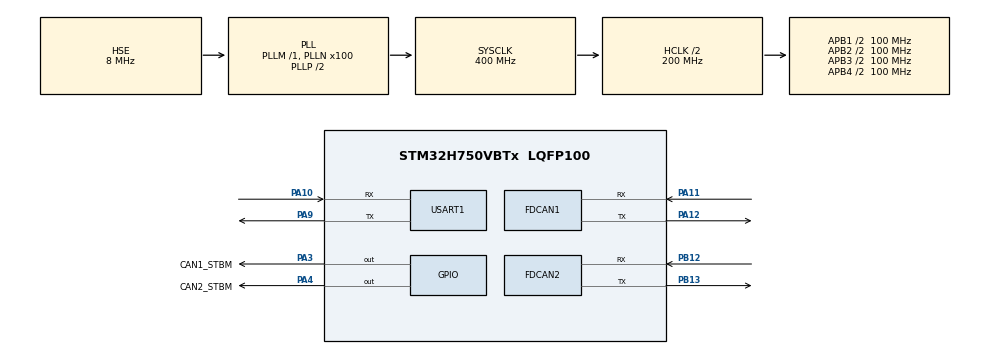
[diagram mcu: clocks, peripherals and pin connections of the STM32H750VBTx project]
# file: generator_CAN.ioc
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CORTEX_M7.default_mode_Activation=1
Dma.Request0=USART1_TX
Dma.USART1_TX.0.Direction=DMA_MEMORY_TO_PERIPH
Dma.USART1_TX.0.EventEnable=DISABLE
Dma.USART1_TX.0.FIFOMode=DMA_FIFOMODE_DISABLE
Dma.USART1_TX.0.Instance=DMA1_Stream0
Dma.USART1_TX.0.MemDataAlignment=DMA_MDATAALIGN_BYTE
Dma.USART1_TX.0.MemInc=DMA_MINC_ENABLE
Dma.USART1_TX.0.Mode=DMA_NORMAL
Dma.USART1_TX.0.PeriphDataAlignment=DMA_PDATAALIGN_BYTE
Dma.USART1_TX.0.PeriphInc=DMA_PINC_DISABLE
Dma.USART1_TX.0.Polarity=HAL_DMAMUX_REQ_GEN_RISING
Dma.USART1_TX.0.Priority=DMA_PRIORITY_LOW
Dma.USART1_TX.0.RequestNumber=1
Dma.USART1_TX.0.SignalID=NONE
Dma.USART1_TX.0.SyncEnable=DISABLE
Dma.USART1_TX.0.SyncPolarity=HAL_DMAMUX_SYNC_NO_EVENT
Dma.USART1_TX.0.SyncRequestNumber=1
Dma.USART1_TX.0.SyncSignalID=NONE
FDCAN1.AutoRetransmission=ENABLE
FDCAN1.CalculateBaudRateNominal=1000000
FDCAN1.CalculateTimeBitNominal=1000
FDCAN1.CalculateTimeQuantumNominal=62.5
FDCAN1.DataSyncJumpWidth=3
FDCAN1.DataTimeSeg1=12
FDCAN1.DataTimeSeg2=3
FDCAN1.FrameFormat=FDCAN_FRAME_FD_BRS
FDCAN1.NominalPrescaler=5
FDCAN1.NominalSyncJumpWidth=2
FDCAN1.NominalTimeSeg1=13
FDCAN1.NominalTimeSeg2=2
FDCAN1.TxElmtSize=FDCAN_DATA_BYTES_64
FDCAN1.TxFifoQueueElmtsNbr=32
FDCAN2.CalculateBaudRateNominal=1000000
FDCAN2.CalculateTimeBitNominal=1000
FDCAN2.CalculateTimeQuantumNominal=62.5
FDCAN2.DataSyncJumpWidth=3
FDCAN2.DataTimeSeg1=12
FDCAN2.DataTimeSeg2=3
FDCAN2.FrameFormat=FDCAN_FRAME_FD_BRS
FDCAN2.MessageRAMOffset=576
FDCAN2.NominalPrescaler=5
FDCAN2.NominalSyncJumpWidth=2
FDCAN2.NominalTimeSeg1=13
FDCAN2.NominalTimeSeg2=2
FDCAN2.RxBufferSize=FDCAN_DATA_BYTES_64
FDCAN2.RxFifo0ElmtSize=FDCAN_DATA_BYTES_64
FDCAN2.RxFifo0ElmtsNbr=32
FDCAN2.RxFifo1ElmtSize=FDCAN_DATA_BYTES_64
Mcu.Family=STM32H7
Mcu.Name=STM32H750VBTx
Mcu.Package=LQFP100
NVIC.DMA1_Stream0_IRQn=true\:0\:0\:false\:false\:true\:false\:true\:true
NVIC.PriorityGroup=NVIC_PRIORITYGROUP_4
NVIC.USART1_IRQn=true\:0\:0\:false\:false\:true\:true\:true\:true
PA10.Mode=Asynchronous
PA10.Signal=USART1_RX
PA11.Mode=FDCAN_Activate
PA11.Signal=FDCAN1_RX
PA12.Mode=FDCAN_Activate
PA12.Signal=FDCAN1_TX
PA13\ (JTMS/SWDIO).Mode=JTAG_5_pins
PA13\ (JTMS/SWDIO).Signal=DEBUG_JTMS-SWDIO
PA14\ (JTCK/SWCLK).Mode=JTAG_5_pins
PA14\ (JTCK/SWCLK).Signal=DEBUG_JTCK-SWCLK
PA15\ (JTDI).Mode=JTAG_5_pins
PA15\ (JTDI).Signal=DEBUG_JTDI
PA3.GPIO_Label=CAN1_STBM
PA3.Signal=GPIO_Output
PA4.GPIO_Label=CAN2_STBM
PA4.Signal=GPIO_Output
PA9.Mode=Asynchronous
PA9.Signal=USART1_TX
PB12.Mode=FDCAN_Activate
PB12.Signal=FDCAN2_RX
PB13.Mode=FDCAN_Activate
PB13.Signal=FDCAN2_TX
PB3\ (JTDO/TRACESWO).Mode=JTAG_5_pins
PB3\ (JTDO/TRACESWO).Signal=DEBUG_JTDO-SWO
PB4\ (NJTRST).Mode=JTAG_5_pins
PB4\ (NJTRST).Signal=DEBUG_JTRST
PH0-OSC_IN\ (PH0).Mode=HSE-External-Oscillator
PH0-OSC_IN\ (PH0).Signal=RCC_OSC_IN
PH1-OSC_OUT\ (PH1).Mode=HSE-External-Oscillator
PH1-OSC_OUT\ (PH1).Signal=RCC_OSC_OUT
ProjectManager.HeapSize=0x200
ProjectManager.StackSize=0x400
ProjectManager.TargetToolchain=STM32CubeIDE
RCC.ADCFreq_Value=80000000
RCC.APB1Freq_Value=100000000
RCC.APB2Freq_Value=100000000
RCC.APB3Freq_Value=100000000
RCC.APB4Freq_Value=100000000
RCC.CortexFreq_Value=400000000
RCC.D1PPRE=RCC_APB3_DIV2
RCC.D2PPRE1=RCC_APB1_DIV2
RCC.D2PPRE2=RCC_APB2_DIV2
RCC.D3PPRE=RCC_APB4_DIV2
RCC.DIVM1=1
RCC.DIVM2=1
RCC.DIVN1=100
RCC.DIVN2=20
RCC.DIVQ1=3
RCC.FDCANCLockSelection=RCC_FDCANCLKSOURCE_PLL2
RCC.HCLKFreq_Value=200000000
RCC.HPRE=RCC_HCLK_DIV2
RCC.HSE_VALUE=8000000
RCC.PLL2FRACN=0
RCC.PLL3FRACN=0
RCC.PLLFRACN=0
RCC.PLLSourceVirtual=RCC_PLLSOURCE_HSE
RCC.SYSCLKFreq_VALUE=400000000
RCC.SYSCLKSource=RCC_SYSCLKSOURCE_PLLCLK
RCC.USBFreq_Value=266666666.66666666
USART1.VirtualMode-Asynchronous=VM_ASYNC
VP_MEMORYMAP_VS_MEMORYMAP.Mode=CurAppReg
board=custom

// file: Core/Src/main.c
/* USER CODE BEGIN Header */
/**
  ******************************************************************************
  * @file           : main.c
  * @brief          : Main program body
  ******************************************************************************
  * @attention
  *
  * Copyright (c) 2026 STMicroelectronics.
  * All rights reserved.
  *
  * This software is licensed under terms that can be found in the LICENSE file
  * in the root directory of this software component.
  * If no LICENSE file comes with this software, it is provided AS-IS.
  *
  ******************************************************************************
  */
/* USER CODE END Header */
#include "main.h"

/* USER CODE BEGIN Includes */
#include <stdio.h>
/* USER CODE END Includes */

/* USER CODE BEGIN PTD */
typedef struct
{
  uint32_t reasons;
  uint32_t expected_counter;
  uint32_t received_counter;
  uint32_t tx_queued;
  uint32_t rx_count;
  uint32_t identifier;
  uint32_t dlc;
  uint32_t bad_byte_index;
  uint8_t bad_byte_expected;
  uint8_t bad_byte_received;
  uint8_t data[8];
} GeneratorCanBadSnapshot;
/* USER CODE END PTD */

/* USER CODE BEGIN PD */
#define GENERATOR_CAN_BITRATE_500K  500000UL
#define GENERATOR_CAN_BITRATE_1M   1000000UL
#define GENERATOR_CAN_DBITRATE_2M  2000000UL
#define GENERATOR_CAN_DBITRATE_5M  5000000UL

#define GENERATOR_BAD_SEQUENCE  (1U << 0)
#define GENERATOR_BAD_FUTURE    (1U << 1)
#define GENERATOR_BAD_ID        (1U << 2)
#define GENERATOR_BAD_DLC       (1U << 3)
#define GENERATOR_BAD_HEADER    (1U << 4)
#define GENERATOR_BAD_ESI       (1U << 5)
#define GENERATOR_BAD_PAYLOAD   (1U << 6)

#define GENERATOR_PROTOCOL_IR_MASK  (FDCAN_IR_PEA | FDCAN_IR_PED)
/* USER CODE END PD */

FDCAN_HandleTypeDef hfdcan1;
FDCAN_HandleTypeDef hfdcan2;

UART_HandleTypeDef huart1;
DMA_HandleTypeDef hdma_usart1_tx;

/* USER CODE BEGIN PV */
static uint32_t can_tx_count = 0;
static uint32_t can_rx_count = 0;
static uint32_t can_tx_error = 0;

static uint32_t last_tx_tick = 0;
static uint32_t last_report_tick = 0;

static FDCAN_TxHeaderTypeDef txHeader = {0};
static uint8_t generator_can_fd = 1U;
static uint32_t generator_nominal_bitrate = GENERATOR_CAN_BITRATE_1M;
static uint32_t generator_data_bitrate = GENERATOR_CAN_DBITRATE_5M;
static uint32_t generator_payload_length = 64U;

/*
 * Independent validation of the traffic seen by generator FDCAN2.
 *
 * FDCAN1 always transmits standard ID 0x100 with a monotonically increasing
 * little-endian counter in data[0..3].  The rest of the active payload uses
 * the deterministic pattern (counter + byte index) & 0xFF.
 *
 * Runtime configuration can switch both generator controllers between:
 *   Classic CAN : 500 kbit/s or 1 Mbit/s, 8-byte payload
 *   CAN FD+BRS  : 500 kbit/s or 1 Mbit/s nominal,
 *                 2 Mbit/s or 5 Mbit/s data, 64-byte payload
 *
 * No printf is performed in the RX hot path.  Only counters and the most
 * recent mismatch are retained and printed in the once-per-second report.
 */
static uint8_t can_rx_have_counter = 0U;
static uint32_t can_rx_expected_counter = 0U;
static uint32_t can_rx_first_counter = 0U;
static uint32_t can_rx_last_counter = 0U;

static uint32_t can_rx_good_frames = 0U;
static uint32_t can_rx_bad_frames = 0U;
static uint32_t can_rx_sequence_errors = 0U;
static uint32_t can_rx_missing_frames = 0U;
static uint32_t can_rx_duplicate_events = 0U;
static uint32_t can_rx_backward_events = 0U;
static uint32_t can_rx_future_events = 0U;
static uint32_t can_rx_id_errors = 0U;
static uint32_t can_rx_dlc_errors = 0U;
static uint32_t can_rx_header_errors = 0U;
static uint32_t can_rx_esi_errors = 0U;
static uint32_t can_rx_payload_errors = 0U;
static uint32_t can_rx_payload_byte_errors = 0U;
static uint32_t can_rx_read_errors = 0U;
static uint32_t can_rx_fifo_lost_events = 0U;
static uint32_t can_rx_max_fifo_fill = 0U;

static GeneratorCanBadSnapshot can_rx_first_bad = {0};
static GeneratorCanBadSnapshot can_rx_last_bad = {0};

static uint32_t can_rx_protocol_events = 0U;
static uint32_t can_rx_protocol_lec_events = 0U;
static uint32_t can_rx_protocol_dlec_events = 0U;
static uint32_t can_rx_protocol_ir_events = 0U;
static uint32_t can_rx_protocol_last_psr = 0U;
static uint32_t can_rx_protocol_last_ecr = 0U;
static uint32_t can_rx_protocol_last_ir = 0U;
static uint32_t can_rx_protocol_last_tx = 0U;
static uint32_t can_rx_protocol_last_rx = 0U;
/* USER CODE END PV */

void SystemClock_Config(void);
void PeriphCommonClock_Config(void);
static void MPU_Config(void);
static void MX_GPIO_Init(void);
static void MX_DMA_Init(void);
static void MX_FDCAN1_Init(void);
static void MX_FDCAN2_Init(void);
static void MX_USART1_UART_Init(void);
/* USER CODE BEGIN PFP */
static void Generator_CAN_ConfigureTxHeader(void);
static void Generator_CAN_ResetStatistics(void);
static uint8_t Generator_CAN_CounterIsAfter(uint32_t value,
                                            uint32_t reference);
static void Generator_CAN_SaveBadSnapshot(
    GeneratorCanBadSnapshot *snapshot,
    uint32_t reasons,
    uint32_t expected_counter,
    uint32_t received_counter,
    uint32_t tx_queued,
    const FDCAN_RxHeaderTypeDef *header,
    const uint8_t *data,
    uint32_t bad_byte_index,
    uint8_t bad_byte_expected,
    uint8_t bad_byte_received);
static void Generator_CAN_MonitorRxProtocol(void);
static HAL_StatusTypeDef Generator_CAN_ConfigureHandle(
    FDCAN_HandleTypeDef *hfdcan,
    uint8_t can_fd,
    uint32_t nominal_bitrate,
    uint32_t data_bitrate);
/* USER CODE END PFP */

/* USER CODE BEGIN 0 */
static void Generator_CAN_SendText(const char *text)
{
  uint16_t length = 0U;

  if (text == NULL)
  {
    return;
  }

  while ((text[length] != '\0') && (length < 383U))
  {
    length++;
  }

  (void)Console_UART_Transmit(&huart1,
                              (const uint8_t *)text,
                              length,
                              0U);
}

static void Generator_CAN_ConfigureTxHeader(void)
{
  txHeader.Identifier = 0x100U;
  txHeader.IdType = FDCAN_STANDARD_ID;
  txHeader.TxFrameType = FDCAN_DATA_FRAME;
  txHeader.DataLength = (generator_can_fd != 0U) ?
                        FDCAN_DLC_BYTES_64 : FDCAN_DLC_BYTES_8;
  txHeader.ErrorStateIndicator = FDCAN_ESI_ACTIVE;
  txHeader.BitRateSwitch = (generator_can_fd != 0U) ?
                           FDCAN_BRS_ON : FDCAN_BRS_OFF;
  txHeader.FDFormat = (generator_can_fd != 0U) ?
                      FDCAN_FD_CAN : FDCAN_CLASSIC_CAN;
  txHeader.TxEventFifoControl = FDCAN_NO_TX_EVENTS;
  txHeader.MessageMarker = 0U;
}

static uint8_t Generator_CAN_CounterIsAfter(uint32_t value,
                                            uint32_t reference)
{
  uint32_t distance = value - reference;

  return ((distance != 0U) && (distance < 0x80000000U)) ? 1U : 0U;
}

static void Generator_CAN_SaveBadSnapshot(
    GeneratorCanBadSnapshot *snapshot,
    uint32_t reasons,
    uint32_t expected_counter,
    uint32_t received_counter,
    uint32_t tx_queued,
    const FDCAN_RxHeaderTypeDef *header,
    const uint8_t *data,
    uint32_t bad_byte_index,
    uint8_t bad_byte_expected,
    uint8_t bad_byte_received)
{
  uint32_t i;

  snapshot->reasons = reasons;
  snapshot->expected_counter = expected_counter;
  snapshot->received_counter = received_counter;
  snapshot->tx_queued = tx_queued;
  snapshot->rx_count = can_rx_count;
  snapshot->identifier = header->Identifier;
  snapshot->dlc = header->DataLength;
  snapshot->bad_byte_index = bad_byte_index;
  snapshot->bad_byte_expected = bad_byte_expected;
  snapshot->bad_byte_received = bad_byte_received;

  for (i = 0U; i < 8U; i++)
  {
    snapshot->data[i] = data[i];
  }
}

static void Generator_CAN_MonitorRxProtocol(void)
{
  uint32_t psr = hfdcan2.Instance->PSR;
  uint32_t ecr = hfdcan2.Instance->ECR;
  uint32_t ir = hfdcan2.Instance->IR & GENERATOR_PROTOCOL_IR_MASK;
  uint32_t lec = (psr & FDCAN_PSR_LEC) >> FDCAN_PSR_LEC_Pos;
  uint32_t dlec = (psr & FDCAN_PSR_DLEC) >> FDCAN_PSR_DLEC_Pos;
  uint8_t lec_error = 0U;
  uint8_t dlec_error = 0U;

  /* Reading PSR consumes the LEC/DLEC change latches.  Poll them in the hot
   * loop so short receive-side protocol errors are retained in our counters. */
  if ((lec != FDCAN_PROTOCOL_ERROR_NONE) &&
      (lec != FDCAN_PROTOCOL_ERROR_NO_CHANGE))
  {
    lec_error = 1U;
  }

  if ((dlec != FDCAN_PROTOCOL_ERROR_NONE) &&
      (dlec != FDCAN_PROTOCOL_ERROR_NO_CHANGE))
  {
    dlec_error = 1U;
  }

  if ((lec_error != 0U) || (dlec_error != 0U) || (ir != 0U))
  {
    can_rx_protocol_events++;
    can_rx_protocol_lec_events += lec_error;
    can_rx_protocol_dlec_events += dlec_error;
    can_rx_protocol_ir_events += (ir != 0U) ? 1U : 0U;
    can_rx_protocol_last_psr = psr;
    can_rx_protocol_last_ecr = ecr;
    can_rx_protocol_last_ir = ir;
    can_rx_protocol_last_tx = can_tx_count;
    can_rx_protocol_last_rx = can_rx_count;

    /* PEA/PED are sticky. Clear only the sampled flags so a later protocol
     * episode is counted independently. */
    if (ir != 0U)
    {
      hfdcan2.Instance->IR = ir;
    }
  }
}

static void Generator_CAN_ResetStatistics(void)
{
  can_tx_count = 0U;
  can_rx_count = 0U;
  can_tx_error = 0U;

  can_rx_have_counter = 0U;
  can_rx_expected_counter = 0U;
  can_rx_first_counter = 0U;
  can_rx_last_counter = 0U;

  can_rx_good_frames = 0U;
  can_rx_bad_frames = 0U;
  can_rx_sequence_errors = 0U;
  can_rx_missing_frames = 0U;
  can_rx_duplicate_events = 0U;
  can_rx_backward_events = 0U;
  can_rx_future_events = 0U;
  can_rx_id_errors = 0U;
  can_rx_dlc_errors = 0U;
  can_rx_header_errors = 0U;
  can_rx_esi_errors = 0U;
  can_rx_payload_errors = 0U;
  can_rx_payload_byte_errors = 0U;
  can_rx_read_errors = 0U;
  can_rx_fifo_lost_events = 0U;
  can_rx_max_fifo_fill = 0U;

  can_rx_first_bad = (GeneratorCanBadSnapshot){0};
  can_rx_last_bad = (GeneratorCanBadSnapshot){0};
  can_rx_first_bad.bad_byte_index = 0xFFFFFFFFU;
  can_rx_last_bad.bad_byte_index = 0xFFFFFFFFU;

  can_rx_protocol_events = 0U;
  can_rx_protocol_lec_events = 0U;
  can_rx_protocol_dlec_events = 0U;
  can_rx_protocol_ir_events = 0U;
  can_rx_protocol_last_psr = 0U;
  can_rx_protocol_last_ecr = 0U;
  can_rx_protocol_last_ir = 0U;
  can_rx_protocol_last_tx = 0U;
  can_rx_protocol_last_rx = 0U;

  /* Establish a clean receive-side protocol baseline before frame 0. */
  (void)hfdcan2.Instance->PSR;
  hfdcan2.Instance->IR = GENERATOR_PROTOCOL_IR_MASK;

  last_tx_tick = HAL_GetTick();
  last_report_tick = HAL_GetTick();
}

static HAL_StatusTypeDef Generator_CAN_ConfigureHandle(
    FDCAN_HandleTypeDef *hfdcan,
    uint8_t can_fd,
    uint32_t nominal_bitrate,
    uint32_t data_bitrate)
{
  uint32_t nominal_prescaler;
  uint32_t data_prescaler = 1U;
  uint32_t data_sjw = 3U;
  uint32_t data_seg1 = 12U;
  uint32_t data_seg2 = 3U;

  if (nominal_bitrate == GENERATOR_CAN_BITRATE_500K)
  {
    nominal_prescaler = 10U;
  }
  else if (nominal_bitrate == GENERATOR_CAN_BITRATE_1M)
  {
    nominal_prescaler = 5U;
  }
  else
  {
    return HAL_ERROR;
  }

  if (can_fd != 0U)
  {
    if (data_bitrate == GENERATOR_CAN_DBITRATE_2M)
    {
      /* 80 MHz / (2 * (1 + 15 + 4)) = 2 Mbit/s, SP=80%. */
      data_prescaler = 2U;
      data_sjw = 4U;
      data_seg1 = 15U;
      data_seg2 = 4U;
    }
    else if (data_bitrate == GENERATOR_CAN_DBITRATE_5M)
    {
      /* 80 MHz / (1 * (1 + 12 + 3)) = 5 Mbit/s, SP=81.25%. */
      data_prescaler = 1U;
      data_sjw = 3U;
      data_seg1 = 12U;
      data_seg2 = 3U;
    }
    else
    {
      return HAL_ERROR;
    }
  }

  hfdcan->Init.FrameFormat = (can_fd != 0U) ?
                             FDCAN_FRAME_FD_BRS : FDCAN_FRAME_CLASSIC;
  hfdcan->Init.NominalPrescaler = nominal_prescaler;
  hfdcan->Init.NominalSyncJumpWidth = 2U;
  hfdcan->Init.NominalTimeSeg1 = 13U;
  hfdcan->Init.NominalTimeSeg2 = 2U;
  hfdcan->Init.DataPrescaler = data_prescaler;
  hfdcan->Init.DataSyncJumpWidth = data_sjw;
  hfdcan->Init.DataTimeSeg1 = data_seg1;
  hfdcan->Init.DataTimeSeg2 = data_seg2;

  return HAL_FDCAN_Init(hfdcan);
}

void Generator_CAN_PrintStatus(void)
{
  char msg[256];
  int length;

  if (generator_can_fd != 0U)
  {
    length = snprintf(
        msg,
        sizeof(msg),
        "CAN STATUS mode=FD+BRS nominal=%lu data=%lu payload=64 "
        "N[brp=%lu sjw=%lu seg1=%lu seg2=%lu] "
        "D[brp=%lu sjw=%lu seg1=%lu seg2=%lu]\r\n",
        (unsigned long)generator_nominal_bitrate,
        (unsigned long)generator_data_bitrate,
        (unsigned long)hfdcan1.Init.NominalPrescaler,
        (unsigned long)hfdcan1.Init.NominalSyncJumpWidth,
        (unsigned long)hfdcan1.Init.NominalTimeSeg1,
        (unsigned long)hfdcan1.Init.NominalTimeSeg2,
        (unsigned long)hfdcan1.Init.DataPrescaler,
        (unsigned long)hfdcan1.Init.DataSyncJumpWidth,
        (unsigned long)hfdcan1.Init.DataTimeSeg1,
        (unsigned long)hfdcan1.Init.DataTimeSeg2);
  }
  else
  {
    length = snprintf(
        msg,
        sizeof(msg),
        "CAN STATUS mode=CLASSIC nominal=%lu payload=8 "
        "N[brp=%lu sjw=%lu seg1=%lu seg2=%lu]\r\n",
        (unsigned long)generator_nominal_bitrate,
        (unsigned long)hfdcan1.Init.NominalPrescaler,
        (unsigned long)hfdcan1.Init.NominalSyncJumpWidth,
        (unsigned long)hfdcan1.Init.NominalTimeSeg1,
        (unsigned long)hfdcan1.Init.NominalTimeSeg2);
  }

  if (length > 0)
  {
    (void)Console_UART_Transmit(&huart1,
                                (const uint8_t *)msg,
                                (uint16_t)length,
                                0U);
  }
}

HAL_StatusTypeDef Generator_CAN_ApplyConfig(
    uint8_t can_fd,
    uint32_t nominal_bitrate,
    uint32_t data_bitrate)
{
  HAL_StatusTypeDef status;

  if ((nominal_bitrate != GENERATOR_CAN_BITRATE_500K) &&
      (nominal_bitrate != GENERATOR_CAN_BITRATE_1M))
  {
    return HAL_ERROR;
  }

  if ((can_fd != 0U) &&
      (data_bitrate != GENERATOR_CAN_DBITRATE_2M) &&
      (data_bitrate != GENERATOR_CAN_DBITRATE_5M))
  {
    return HAL_ERROR;
  }

  /* Stop the transmitter first so CAN2 is still available to ACK it. */
  if (HAL_FDCAN_Stop(&hfdcan1) != HAL_OK)
  {
    Generator_CAN_SendText("CAN config failed: cannot stop FDCAN1\r\n");
    return HAL_ERROR;
  }

  if (HAL_FDCAN_Stop(&hfdcan2) != HAL_OK)
  {
    Generator_CAN_SendText("CAN config failed: cannot stop FDCAN2\r\n");
    return HAL_ERROR;
  }

  status = Generator_CAN_ConfigureHandle(&hfdcan1,
                                         can_fd,
                                         nominal_bitrate,
                                         data_bitrate);
  if (status != HAL_OK)
  {
    Generator_CAN_SendText("CAN config failed: FDCAN1 init\r\n");
    return status;
  }

  status = Generator_CAN_ConfigureHandle(&hfdcan2,
                                         can_fd,
                                         nominal_bitrate,
                                         data_bitrate);
  if (status != HAL_OK)
  {
    Generator_CAN_SendText("CAN config failed: FDCAN2 init\r\n");
    return status;
  }

  if (HAL_FDCAN_ConfigGlobalFilter(&hfdcan2,
                                   FDCAN_ACCEPT_IN_RX_FIFO0,
                                   FDCAN_ACCEPT_IN_RX_FIFO0,
                                   FDCAN_REJECT_REMOTE,
                                   FDCAN_REJECT_REMOTE) != HAL_OK)
  {
    Generator_CAN_SendText("CAN config failed: FDCAN2 filter\r\n");
    return HAL_ERROR;
  }

  /* Receiver/ACK node always starts before the traffic generator. */
  if (HAL_FDCAN_Start(&hfdcan2) != HAL_OK)
  {
    Generator_CAN_SendText("CAN config failed: cannot start FDCAN2\r\n");
    return HAL_ERROR;
  }

  if (HAL_FDCAN_Start(&hfdcan1) != HAL_OK)
  {
    (void)HAL_FDCAN_Stop(&hfdcan2);
    Generator_CAN_SendText("CAN config failed: cannot start FDCAN1\r\n");
    return HAL_ERROR;
  }

  generator_can_fd = (can_fd != 0U) ? 1U : 0U;
  generator_nominal_bitrate = nominal_bitrate;
  generator_data_bitrate = (can_fd != 0U) ? data_bitrate : 0U;
  generator_payload_length = (can_fd != 0U) ? 64U : 8U;

  Generator_CAN_ConfigureTxHeader();
  Generator_CAN_ResetStatistics();
  Generator_CAN_PrintStatus();

  return HAL_OK;
}
/* USER CODE END 0 */

int main(void)
{

  /* MPU Configuration--------------------------------------------------------*/
  MPU_Config();

  /* MCU Configuration--------------------------------------------------------*/

  /* Reset of all peripherals, Initializes the Flash interface and the Systick. */
  HAL_Init();

  /* Configure the system clock */
  SystemClock_Config();

  /* Configure the peripherals common clocks */
  PeriphCommonClock_Config();

  /* Initialize all configured peripherals */
  MX_GPIO_Init();
  MX_DMA_Init();
  MX_FDCAN1_Init();
  MX_FDCAN2_Init();
  MX_USART1_UART_Init();
  /* USER CODE BEGIN 2 */
  const char msg[] =
      "\r\n"
      "================================\r\n"
      " CAN / CAN FD traffic generator\r\n"
      "================================\r\n"
      "Boot OK\r\n"
      "CPU          : 400 MHz\r\n"
      "Default      : CAN FD+BRS 1 Mbit/s / 5 Mbit/s\r\n"
      "Pattern      : ID=100 counter + deterministic pattern\r\n"
      "CAN2         : independent RX validator / ACK node enabled\r\n"
      "Type ? for runtime commands\r\n"
      "\r\n";

  HAL_UART_Transmit(&huart1,
                    (uint8_t *)msg,
                    sizeof(msg) - 1,
                    HAL_MAX_DELAY);

  Generator_CAN_ConfigureTxHeader();

  /* CAN2 accepts all non-matching standard/extended frames into FIFO0 */
  if (HAL_FDCAN_ConfigGlobalFilter(&hfdcan2,
                                   FDCAN_ACCEPT_IN_RX_FIFO0,
                                   FDCAN_ACCEPT_IN_RX_FIFO0,
                                   FDCAN_REJECT_REMOTE,
                                   FDCAN_REJECT_REMOTE) != HAL_OK)
  {
      Error_Handler();
  }

  /*
   * Start receiver first.
   * CAN2 must be active before CAN1 starts transmitting,
   * because CAN2 provides the ACK.
   */
  if (HAL_FDCAN_Start(&hfdcan2) != HAL_OK)
  {
      Error_Handler();
  }

  if (HAL_FDCAN_Start(&hfdcan1) != HAL_OK)
  {
      Error_Handler();
  }

  Generator_CAN_ResetStatistics();
  Generator_CAN_PrintStatus();

  /* USER CODE END 2 */

  /* Infinite loop */
  while (1)
  {

    /* USER CODE BEGIN 3 */

      uint32_t now = HAL_GetTick();

      while (HAL_FDCAN_GetTxFifoFreeLevel(&hfdcan1) > 0)
      {
          uint8_t txData[64];

          txData[0] = (uint8_t)(can_tx_count);
          txData[1] = (uint8_t)(can_tx_count >> 8);
          txData[2] = (uint8_t)(can_tx_count >> 16);
          txData[3] = (uint8_t)(can_tx_count >> 24);

          for (uint32_t i = 4U; i < 64U; i++)
          {
              txData[i] = (uint8_t)(can_tx_count + i);
          }

          if (HAL_FDCAN_AddMessageToTxFifoQ(&hfdcan1,
                                            &txHeader,
                                            txData) == HAL_OK)
          {
              can_tx_count++;
          }
          else
          {
              can_tx_error++;
              break;
          }
      }

      /*
       * Observe FIFO pressure before draining it.  This allows a sequence gap
       * at CAN2 to be distinguished from a generator-side FIFO overflow.
       */
      uint32_t rx_fill =
          HAL_FDCAN_GetRxFifoFillLevel(&hfdcan2, FDCAN_RX_FIFO0);

      if (rx_fill > can_rx_max_fifo_fill)
      {
          can_rx_max_fifo_fill = rx_fill;
      }

      if (__HAL_FDCAN_GET_FLAG(&hfdcan2,
                               FDCAN_FLAG_RX_FIFO0_MESSAGE_LOST))
      {
          can_rx_fifo_lost_events++;
          __HAL_FDCAN_CLEAR_FLAG(&hfdcan2,
                                 FDCAN_FLAG_RX_FIFO0_MESSAGE_LOST);
      }

      /* Drain and validate everything received by CAN2. */
      while (HAL_FDCAN_GetRxFifoFillLevel(&hfdcan2,
                                          FDCAN_RX_FIFO0) > 0)
      {
          FDCAN_RxHeaderTypeDef rxHeader;
          uint8_t rxData[64] = {0U};

          if (HAL_FDCAN_GetRxMessage(&hfdcan2,
                                     FDCAN_RX_FIFO0,
                                     &rxHeader,
                                     rxData) == HAL_OK)
          {
              uint32_t counter =
                    ((uint32_t)rxData[0])
                  | ((uint32_t)rxData[1] << 8)
                  | ((uint32_t)rxData[2] << 16)
                  | ((uint32_t)rxData[3] << 24);

              uint32_t expected_before = can_rx_expected_counter;
              uint32_t tx_queued_before = can_tx_count;
              uint32_t tx_distance = tx_queued_before - counter;
              uint32_t reasons = 0U;
              uint32_t bad_byte_index = 0xFFFFFFFFU;
              uint8_t bad_byte_expected = 0U;
              uint8_t bad_byte_received = 0U;
              uint32_t expected_dlc = (generator_can_fd != 0U) ?
                                      FDCAN_DLC_BYTES_64 : FDCAN_DLC_BYTES_8;
              uint32_t expected_format = (generator_can_fd != 0U) ?
                                         FDCAN_FD_CAN : FDCAN_CLASSIC_CAN;
              uint32_t expected_brs = (generator_can_fd != 0U) ?
                                      FDCAN_BRS_ON : FDCAN_BRS_OFF;

              can_rx_count++;

              if (can_rx_have_counter == 0U)
              {
                  can_rx_have_counter = 1U;
                  can_rx_first_counter = counter;
              }

              /* A received counter must refer to a frame already accepted by
               * the TX queue.  Modular subtraction keeps this valid at wrap. */
              if ((tx_distance == 0U) || (tx_distance >= 0x80000000U))
              {
                  can_rx_future_events++;
                  reasons |= GENERATOR_BAD_FUTURE;
              }

              if ((counter == expected_before) &&
                  ((reasons & GENERATOR_BAD_FUTURE) == 0U))
              {
                  can_rx_expected_counter++;
              }
              else if (counter != expected_before)
              {
                  can_rx_sequence_errors++;
                  reasons |= GENERATOR_BAD_SEQUENCE;

                  if ((reasons & GENERATOR_BAD_FUTURE) != 0U)
                  {
                      /* An impossible counter must not poison synchronisation. */
                  }
                  else if ((can_rx_count > 1U) &&
                      (counter == can_rx_last_counter))
                  {
                      can_rx_duplicate_events++;
                      /* A duplicate does not advance the expected counter. */
                  }
                  else if (Generator_CAN_CounterIsAfter(
                               counter, expected_before) != 0U)
                  {
                      can_rx_missing_frames += counter - expected_before;
                      can_rx_expected_counter = counter + 1U;
                  }
                  else
                  {
                      can_rx_backward_events++;
                      /* Keep the expected counter so a late/stale frame does
                       * not hide a subsequent valid frame. */
                  }
              }

              can_rx_last_counter = counter;

              if ((rxHeader.Identifier != 0x100U) ||
                  (rxHeader.IdType != FDCAN_STANDARD_ID))
              {
                  can_rx_id_errors++;
                  reasons |= GENERATOR_BAD_ID;
              }

              if (rxHeader.DataLength != expected_dlc)
              {
                  can_rx_dlc_errors++;
                  reasons |= GENERATOR_BAD_DLC;
              }

              if ((rxHeader.RxFrameType != FDCAN_DATA_FRAME) ||
                  (rxHeader.FDFormat != expected_format) ||
                  (rxHeader.BitRateSwitch != expected_brs))
              {
                  can_rx_header_errors++;
                  reasons |= GENERATOR_BAD_HEADER;
              }

              if (rxHeader.ErrorStateIndicator != FDCAN_ESI_ACTIVE)
              {
                  can_rx_esi_errors++;
                  reasons |= GENERATOR_BAD_ESI;
              }

              for (uint32_t i = 4U; i < generator_payload_length; i++)
              {
                  uint8_t expected_byte = (uint8_t)(counter + i);

                  if (rxData[i] != expected_byte)
                  {
                      if ((reasons & GENERATOR_BAD_PAYLOAD) == 0U)
                      {
                          can_rx_payload_errors++;
                          bad_byte_index = i;
                          bad_byte_expected = expected_byte;
                          bad_byte_received = rxData[i];
                      }

                      can_rx_payload_byte_errors++;
                      reasons |= GENERATOR_BAD_PAYLOAD;
                  }
              }

              if (reasons == 0U)
              {
                  can_rx_good_frames++;
              }
              else
              {
                  can_rx_bad_frames++;

                  if (can_rx_bad_frames == 1U)
                  {
                      Generator_CAN_SaveBadSnapshot(
                          &can_rx_first_bad,
                          reasons,
                          expected_before,
                          counter,
                          tx_queued_before,
                          &rxHeader,
                          rxData,
                          bad_byte_index,
                          bad_byte_expected,
                          bad_byte_received);
                  }

                  Generator_CAN_SaveBadSnapshot(
                      &can_rx_last_bad,
                      reasons,
                      expected_before,
                      counter,
                      tx_queued_before,
                      &rxHeader,
                      rxData,
                      bad_byte_index,
                      bad_byte_expected,
                      bad_byte_received);
              }
          }
          else
          {
              can_rx_read_errors++;
          }
      }

      Generator_CAN_MonitorRxProtocol();

      /* Print status once per second. */
      if ((now - last_report_tick) >= 1000)
      {
          last_report_tick = now;

          FDCAN_ProtocolStatusTypeDef ps1 = {0};
          FDCAN_ProtocolStatusTypeDef ps2 = {0};

          FDCAN_ErrorCountersTypeDef ec1 = {0};
          FDCAN_ErrorCountersTypeDef ec2 = {0};

          HAL_FDCAN_GetProtocolStatus(&hfdcan1, &ps1);
          HAL_FDCAN_GetProtocolStatus(&hfdcan2, &ps2);

          HAL_FDCAN_GetErrorCounters(&hfdcan1, &ec1);
          HAL_FDCAN_GetErrorCounters(&hfdcan2, &ec2);

          uint32_t txFree =
              HAL_FDCAN_GetTxFifoFreeLevel(&hfdcan1);

          uint32_t rxFill =
              HAL_FDCAN_GetRxFifoFillLevel(&hfdcan2, FDCAN_RX_FIFO0);

          char status_msg[320];

          int status_len = snprintf(
              status_msg,
              sizeof(status_msg),
              "TXQ=%lu RX=%lu ADDERR=%lu free=%lu rxFill=%lu "
              "| C1 TEC=%lu REC=%lu EP=%lu BO=%lu LEC=%lu "
              "| C2 TEC=%lu REC=%lu EP=%lu BO=%lu LEC=%lu\r\n",
              (unsigned long)can_tx_count,
              (unsigned long)can_rx_count,
              (unsigned long)can_tx_error,
              (unsigned long)txFree,
              (unsigned long)rxFill,

              (unsigned long)ec1.TxErrorCnt,
              (unsigned long)ec1.RxErrorCnt,
              (unsigned long)ps1.ErrorPassive,
              (unsigned long)ps1.BusOff,
              (unsigned long)ps1.LastErrorCode,

              (unsigned long)ec2.TxErrorCnt,
              (unsigned long)ec2.RxErrorCnt,
              (unsigned long)ps2.ErrorPassive,
              (unsigned long)ps2.BusOff,
              (unsigned long)ps2.LastErrorCode);

          HAL_UART_Transmit(&huart1,
                            (uint8_t *)status_msg,
                            status_len,
                            HAL_MAX_DELAY);

          char check_msg[384];
          uint32_t crosscheck_errors =
              can_rx_bad_frames +
              can_rx_read_errors +
              can_rx_fifo_lost_events +
              can_rx_protocol_events;
          const char *crosscheck_state;

          if (crosscheck_errors != 0U)
          {
              crosscheck_state = "FAIL";
          }
          else if ((can_tx_count == can_rx_count) &&
                   (can_rx_expected_counter == can_tx_count))
          {
              crosscheck_state = "PASS";
          }
          else
          {
              crosscheck_state = "RUN";
          }

          int check_len = snprintf(
              check_msg,
              sizeof(check_msg),
              "GENX %s tx=%lu rx=%lu d=%lu next=%lu ok=%lu bad=%lu\r\n"
              "SEQ first=%lu last=%lu err=%lu miss=%lu dup=%lu back=%lu fut=%lu\r\n"
              "RX id=%lu dlc=%lu hdr=%lu esi=%lu pf=%lu pb=%lu "
              "read=%lu lost=%lu max=%lu\r\n",
              crosscheck_state,
              (unsigned long)can_tx_count,
              (unsigned long)can_rx_count,
              (unsigned long)(can_tx_count - can_rx_count),
              (unsigned long)can_rx_expected_counter,
              (unsigned long)can_rx_good_frames,
              (unsigned long)can_rx_bad_frames,
              (unsigned long)can_rx_first_counter,
              (unsigned long)can_rx_last_counter,
              (unsigned long)can_rx_sequence_errors,
              (unsigned long)can_rx_missing_frames,
              (unsigned long)can_rx_duplicate_events,
              (unsigned long)can_rx_backward_events,
              (unsigned long)can_rx_future_events,
              (unsigned long)can_rx_id_errors,
              (unsigned long)can_rx_dlc_errors,
              (unsigned long)can_rx_header_errors,
              (unsigned long)can_rx_esi_errors,
              (unsigned long)can_rx_payload_errors,
              (unsigned long)can_rx_payload_byte_errors,
              (unsigned long)can_rx_read_errors,
              (unsigned long)can_rx_fifo_lost_events,
              (unsigned long)can_rx_max_fifo_fill);

          HAL_UART_Transmit(&huart1,
                            (uint8_t *)check_msg,
                            check_len,
                            HAL_MAX_DELAY);

          if ((can_rx_bad_frames != 0U) ||
              (can_rx_protocol_events != 0U))
          {
              char detail_msg[384];

              int detail_len = snprintf(
                  detail_msg,
                  sizeof(detail_msg),
                  "FIRST w=%02lX e=%lu g=%lu tq=%lu r=%lu "
                  "id=%03lX dlc=%lu b=%ld:%02X/%02X\r\n"
                  "LAST w=%02lX e=%lu g=%lu tq=%lu r=%lu "
                  "id=%03lX dlc=%lu b=%ld:%02X/%02X\r\n"
                  "PROTO ev=%lu l=%lu dl=%lu irn=%lu "
                  "p=%08lX e=%08lX i=%08lX t=%lu r=%lu\r\n",
                  (unsigned long)can_rx_first_bad.reasons,
                  (unsigned long)can_rx_first_bad.expected_counter,
                  (unsigned long)can_rx_first_bad.received_counter,
                  (unsigned long)can_rx_first_bad.tx_queued,
                  (unsigned long)can_rx_first_bad.rx_count,
                  (unsigned long)can_rx_first_bad.identifier,
                  (unsigned long)can_rx_first_bad.dlc,
                  (long)(int32_t)can_rx_first_bad.bad_byte_index,
                  can_rx_first_bad.bad_byte_expected,
                  can_rx_first_bad.bad_byte_received,
                  (unsigned long)can_rx_last_bad.reasons,
                  (unsigned long)can_rx_last_bad.expected_counter,
                  (unsigned long)can_rx_last_bad.received_counter,
                  (unsigned long)can_rx_last_bad.tx_queued,
                  (unsigned long)can_rx_last_bad.rx_count,
                  (unsigned long)can_rx_last_bad.identifier,
                  (unsigned long)can_rx_last_bad.dlc,
                  (long)(int32_t)can_rx_last_bad.bad_byte_index,
                  can_rx_last_bad.bad_byte_expected,
                  can_rx_last_bad.bad_byte_received,
                  (unsigned long)can_rx_protocol_events,
                  (unsigned long)can_rx_protocol_lec_events,
                  (unsigned long)can_rx_protocol_dlec_events,
                  (unsigned long)can_rx_protocol_ir_events,
                  (unsigned long)can_rx_protocol_last_psr,
                  (unsigned long)can_rx_protocol_last_ecr,
                  (unsigned long)can_rx_protocol_last_ir,
                  (unsigned long)can_rx_protocol_last_tx,
                  (unsigned long)can_rx_protocol_last_rx);

              HAL_UART_Transmit(&huart1,
                                (uint8_t *)detail_msg,
                                detail_len,
                                HAL_MAX_DELAY);
          }
      }
  }
  /* USER CODE END 3 */
}

void SystemClock_Config(void)
{
  RCC_OscInitTypeDef RCC_OscInitStruct = {0};
  RCC_ClkInitTypeDef RCC_ClkInitStruct = {0};

  /** Supply configuration update enable
  */
  HAL_PWREx_ConfigSupply(PWR_LDO_SUPPLY);

  /** Configure the main internal regulator output voltage
  */
  __HAL_PWR_VOLTAGESCALING_CONFIG(PWR_REGULATOR_VOLTAGE_SCALE1);

  while(!__HAL_PWR_GET_FLAG(PWR_FLAG_VOSRDY)) {}

  /** Initializes the RCC Oscillators according to the specified parameters
  * in the RCC_OscInitTypeDef structure.
  */
  RCC_OscInitStruct.OscillatorType = RCC_OSCILLATORTYPE_HSE;
  RCC_OscInitStruct.HSEState = RCC_HSE_ON;
  RCC_OscInitStruct.PLL.PLLState = RCC_PLL_ON;
  RCC_OscInitStruct.PLL.PLLSource = RCC_PLLSOURCE_HSE;
  RCC_OscInitStruct.PLL.PLLM = 1;
  RCC_OscInitStruct.PLL.PLLN = 100;
  RCC_OscInitStruct.PLL.PLLP = 2;
  RCC_OscInitStruct.PLL.PLLQ = 3;
  RCC_OscInitStruct.PLL.PLLR = 2;
  RCC_OscInitStruct.PLL.PLLRGE = RCC_PLL1VCIRANGE_3;
  RCC_OscInitStruct.PLL.PLLVCOSEL = RCC_PLL1VCOWIDE;
  RCC_OscInitStruct.PLL.PLLFRACN = 0;
  if (HAL_RCC_OscConfig(&RCC_OscInitStruct) != HAL_OK)
  {
    Error_Handler();
  }

  /** Initializes the CPU, AHB and APB buses clocks
  */
  RCC_ClkInitStruct.ClockType = RCC_CLOCKTYPE_HCLK|RCC_CLOCKTYPE_SYSCLK
                              |RCC_CLOCKTYPE_PCLK1|RCC_CLOCKTYPE_PCLK2
                              |RCC_CLOCKTYPE_D3PCLK1|RCC_CLOCKTYPE_D1PCLK1;
  RCC_ClkInitStruct.SYSCLKSource = RCC_SYSCLKSOURCE_PLLCLK;
  RCC_ClkInitStruct.SYSCLKDivider = RCC_SYSCLK_DIV1;
  RCC_ClkInitStruct.AHBCLKDivider = RCC_HCLK_DIV2;
  RCC_ClkInitStruct.APB3CLKDivider = RCC_APB3_DIV2;
  RCC_ClkInitStruct.APB1CLKDivider = RCC_APB1_DIV2;
  RCC_ClkInitStruct.APB2CLKDivider = RCC_APB2_DIV2;
  RCC_ClkInitStruct.APB4CLKDivider = RCC_APB4_DIV2;

  if (HAL_RCC_ClockConfig(&RCC_ClkInitStruct, FLASH_LATENCY_2) != HAL_OK)
  {
    Error_Handler();
  }
}

void PeriphCommonClock_Config(void)
{
  RCC_PeriphCLKInitTypeDef PeriphClkInitStruct = {0};

  /** Initializes the peripherals clock
  */
  PeriphClkInitStruct.PeriphClockSelection = RCC_PERIPHCLK_FDCAN;
  PeriphClkInitStruct.PLL2.PLL2M = 1;
  PeriphClkInitStruct.PLL2.PLL2N = 20;
  PeriphClkInitStruct.PLL2.PLL2P = 2;
  PeriphClkInitStruct.PLL2.PLL2Q = 2;
  PeriphClkInitStruct.PLL2.PLL2R = 2;
  PeriphClkInitStruct.PLL2.PLL2RGE = RCC_PLL2VCIRANGE_3;
  PeriphClkInitStruct.PLL2.PLL2VCOSEL = RCC_PLL2VCOMEDIUM;
  PeriphClkInitStruct.PLL2.PLL2FRACN = 0;
  PeriphClkInitStruct.FdcanClockSelection = RCC_FDCANCLKSOURCE_PLL2;
  if (HAL_RCCEx_PeriphCLKConfig(&PeriphClkInitStruct) != HAL_OK)
  {
    Error_Handler();
  }
}

static void MX_FDCAN1_Init(void)
{

  hfdcan1.Instance = FDCAN1;
  hfdcan1.Init.FrameFormat = FDCAN_FRAME_FD_BRS;
  hfdcan1.Init.Mode = FDCAN_MODE_NORMAL;
  hfdcan1.Init.AutoRetransmission = ENABLE;
  hfdcan1.Init.TransmitPause = DISABLE;
  hfdcan1.Init.ProtocolException = DISABLE;
  hfdcan1.Init.NominalPrescaler = 5;
  hfdcan1.Init.NominalSyncJumpWidth = 2;
  hfdcan1.Init.NominalTimeSeg1 = 13;
  hfdcan1.Init.NominalTimeSeg2 = 2;
  hfdcan1.Init.DataPrescaler = 1;
  hfdcan1.Init.DataSyncJumpWidth = 3;
  hfdcan1.Init.DataTimeSeg1 = 12;
  hfdcan1.Init.DataTimeSeg2 = 3;
  hfdcan1.Init.MessageRAMOffset = 0;
  hfdcan1.Init.StdFiltersNbr = 0;
  hfdcan1.Init.ExtFiltersNbr = 0;
  hfdcan1.Init.RxFifo0ElmtsNbr = 0;
  hfdcan1.Init.RxFifo0ElmtSize = FDCAN_DATA_BYTES_8;
  hfdcan1.Init.RxFifo1ElmtsNbr = 0;
  hfdcan1.Init.RxFifo1ElmtSize = FDCAN_DATA_BYTES_8;
  hfdcan1.Init.RxBuffersNbr = 0;
  hfdcan1.Init.RxBufferSize = FDCAN_DATA_BYTES_8;
  hfdcan1.Init.TxEventsNbr = 0;
  hfdcan1.Init.TxBuffersNbr = 0;
  hfdcan1.Init.TxFifoQueueElmtsNbr = 32;
  hfdcan1.Init.TxFifoQueueMode = FDCAN_TX_FIFO_OPERATION;
  hfdcan1.Init.TxElmtSize = FDCAN_DATA_BYTES_64;
  if (HAL_FDCAN_Init(&hfdcan1) != HAL_OK)
  {
    Error_Handler();
  }

}

static void MX_FDCAN2_Init(void)
{

  hfdcan2.Instance = FDCAN2;
  hfdcan2.Init.FrameFormat = FDCAN_FRAME_FD_BRS;
  hfdcan2.Init.Mode = FDCAN_MODE_NORMAL;
  hfdcan2.Init.AutoRetransmission = DISABLE;
  hfdcan2.Init.TransmitPause = DISABLE;
  hfdcan2.Init.ProtocolException = DISABLE;
  hfdcan2.Init.NominalPrescaler = 5;
  hfdcan2.Init.NominalSyncJumpWidth = 2;
  hfdcan2.Init.NominalTimeSeg1 = 13;
  hfdcan2.Init.NominalTimeSeg2 = 2;
  hfdcan2.Init.DataPrescaler = 1;
  hfdcan2.Init.DataSyncJumpWidth = 3;
  hfdcan2.Init.DataTimeSeg1 = 12;
  hfdcan2.Init.DataTimeSeg2 = 3;
  hfdcan2.Init.MessageRAMOffset = 576;
  hfdcan2.Init.StdFiltersNbr = 0;
  hfdcan2.Init.ExtFiltersNbr = 0;
  hfdcan2.Init.RxFifo0ElmtsNbr = 32;
  hfdcan2.Init.RxFifo0ElmtSize = FDCAN_DATA_BYTES_64;
  hfdcan2.Init.RxFifo1ElmtsNbr = 0;
  hfdcan2.Init.RxFifo1ElmtSize = FDCAN_DATA_BYTES_64;
  hfdcan2.Init.RxBuffersNbr = 0;
  hfdcan2.Init.RxBufferSize = FDCAN_DATA_BYTES_64;
  hfdcan2.Init.TxEventsNbr = 0;
  hfdcan2.Init.TxBuffersNbr = 0;
  hfdcan2.Init.TxFifoQueueElmtsNbr = 0;
  hfdcan2.Init.TxFifoQueueMode = FDCAN_TX_FIFO_OPERATION;
  hfdcan2.Init.TxElmtSize = FDCAN_DATA_BYTES_8;
  if (HAL_FDCAN_Init(&hfdcan2) != HAL_OK)
  {
    Error_Handler();
  }

}

static void MX_USART1_UART_Init(void)
{

  huart1.Instance = USART1;
  huart1.Init.BaudRate = 115200;
  huart1.Init.WordLength = UART_WORDLENGTH_8B;
  huart1.Init.StopBits = UART_STOPBITS_1;
  huart1.Init.Parity = UART_PARITY_NONE;
  huart1.Init.Mode = UART_MODE_TX_RX;
  huart1.Init.HwFlowCtl = UART_HWCONTROL_NONE;
  huart1.Init.OverSampling = UART_OVERSAMPLING_16;
  huart1.Init.OneBitSampling = UART_ONE_BIT_SAMPLE_DISABLE;
  huart1.Init.ClockPrescaler = UART_PRESCALER_DIV1;
  huart1.AdvancedInit.AdvFeatureInit = UART_ADVFEATURE_NO_INIT;
  if (HAL_UART_Init(&huart1) != HAL_OK)
  {
    Error_Handler();
  }
  if (HAL_UARTEx_SetTxFifoThreshold(&huart1, UART_TXFIFO_THRESHOLD_1_8) != HAL_OK)
  {
    Error_Handler();
  }
  if (HAL_UARTEx_SetRxFifoThreshold(&huart1, UART_RXFIFO_THRESHOLD_1_8) != HAL_OK)
  {
    Error_Handler();
  }
  if (HAL_UARTEx_DisableFifoMode(&huart1) != HAL_OK)
  {
    Error_Handler();
  }

}

static void MX_DMA_Init(void)
{

  /* DMA controller clock enable */
  __HAL_RCC_DMA1_CLK_ENABLE();

  /* DMA interrupt init */
  /* DMA1_Stream0_IRQn interrupt configuration */
  HAL_NVIC_SetPriority(DMA1_Stream0_IRQn, 0, 0);
  HAL_NVIC_EnableIRQ(DMA1_Stream0_IRQn);

}

static void MX_GPIO_Init(void)
{
  GPIO_InitTypeDef GPIO_InitStruct = {0};

  /* GPIO Ports Clock Enable */
  __HAL_RCC_GPIOH_CLK_ENABLE();
  __HAL_RCC_GPIOA_CLK_ENABLE();
  __HAL_RCC_GPIOB_CLK_ENABLE();

  /*Configure GPIO pin Output Level */
  HAL_GPIO_WritePin(GPIOA, CAN1_STBM_Pin|CAN2_STBM_Pin, GPIO_PIN_RESET);

  /*Configure GPIO pins : CAN1_STBM_Pin CAN2_STBM_Pin */
  GPIO_InitStruct.Pin = CAN1_STBM_Pin|CAN2_STBM_Pin;
  GPIO_InitStruct.Mode = GPIO_MODE_OUTPUT_PP;
  GPIO_InitStruct.Pull = GPIO_NOPULL;
  GPIO_InitStruct.Speed = GPIO_SPEED_FREQ_LOW;
  HAL_GPIO_Init(GPIOA, &GPIO_InitStruct);

}

 /* MPU Configuration */

void MPU_Config(void)
{
  MPU_Region_InitTypeDef MPU_InitStruct = {0};

  /* Disables the MPU */
  HAL_MPU_Disable();

  /** Initializes and configures the Region and the memory to be protected
  */
  MPU_InitStruct.Enable = MPU_REGION_ENABLE;
  MPU_InitStruct.Number = MPU_REGION_NUMBER0;
  MPU_InitStruct.BaseAddress = 0x0;
  MPU_InitStruct.Size = MPU_REGION_SIZE_4GB;
  MPU_InitStruct.SubRegionDisable = 0x87;
  MPU_InitStruct.TypeExtField = MPU_TEX_LEVEL0;
  MPU_InitStruct.AccessPermission = MPU_REGION_NO_ACCESS;
  MPU_InitStruct.DisableExec = MPU_INSTRUCTION_ACCESS_DISABLE;
  MPU_InitStruct.IsShareable = MPU_ACCESS_SHAREABLE;
  MPU_InitStruct.IsCacheable = MPU_ACCESS_NOT_CACHEABLE;
  MPU_InitStruct.IsBufferable = MPU_ACCESS_NOT_BUFFERABLE;

  HAL_MPU_ConfigRegion(&MPU_InitStruct);
  /* Enables the MPU */
  HAL_MPU_Enable(MPU_PRIVILEGED_DEFAULT);

}

void Error_Handler(void)
{
  __disable_irq();
  while (1)
  {
  }
}
